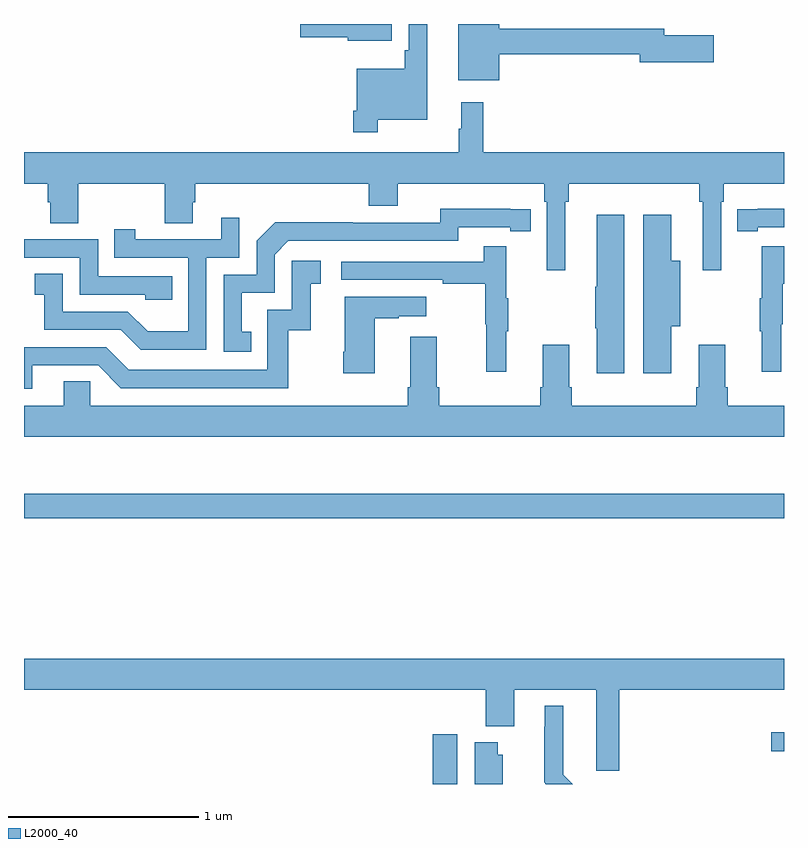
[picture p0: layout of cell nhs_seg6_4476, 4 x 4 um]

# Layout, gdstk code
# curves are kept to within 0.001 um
import gdstk
lib = gdstk.Library(unit=1e-6, precision=1e-09)
def R(c, l, rs):  # rectangles x0, y0, x1, y1
    for r in rs: c.add(gdstk.rectangle(r[:2], r[2:], *l))
def P(c, l, *ps):  # polygons
    for p in ps: c.add(gdstk.Polygon(p, *l))
L2000_40 = (2000, 40)

nhs_seg6_4476 = lib.new_cell('nhs_seg6_4476')
R(nhs_seg6_4476, L2000_40, [(377.15,953.5,377.281,953.761), (378.933,953.673,379,953.773), (375,954.898,379,955.027)])
P(nhs_seg6_4476, L2000_40, [(377.5,957.34),(378.242,957.34),(378.242,957.298),(378.631,957.298),(378.631,957.44),(378.37,957.44),(378.37,957.476),(377.5,957.476),(377.5,957.5),(377.285,957.5),(377.285,957.203),(377.5,957.203)],
  [(376.861,956.996),(377.122,956.996),(377.122,957.5),(377.025,957.5),(377.025,957.361),(377.005,957.361),(377.005,957.265),(376.752,957.265),(376.752,957.043),(376.732,957.043),(376.732,956.931),(376.861,956.931)],
  [(376.936,957.5),(376.454,957.5),(376.454,957.431),(376.704,957.431),(376.704,957.413),(376.936,957.413)],
  [(377.848,956.564),(377.867,956.564),(377.867,956.66),(378.553,956.66),(378.553,956.564),(378.572,956.564),(378.572,956.205),(378.669,956.205),(378.669,956.564),(378.683,956.564),(378.683,956.66),(379,956.66),(379,956.824),(377.417,956.824),(377.417,957.088),(377.3,957.088),(377.3,956.948),(377.289,956.948),(377.289,956.824),(375,956.824),(375,956.66),(375.125,956.66),(375.125,956.562),(375.137,956.562),(375.137,956.452),(375.285,956.452),(375.285,956.66),(375.742,956.66),(375.742,956.452),(375.889,956.452),(375.889,956.562),(375.902,956.562),(375.902,956.66),(376.814,956.66),(376.814,956.543),(376.966,956.543),(376.966,956.66),(377.738,956.66),(377.738,956.564),(377.751,956.564),(377.751,956.205),(377.848,956.205)],
  [(376.196,955.881),(376.147,955.881),(376.147,956.085),(376.32,956.085),(376.32,956.286),(376.392,956.358),(377.286,956.358),(377.286,956.43),(377.558,956.43),(377.558,956.41),(377.666,956.41),(377.666,956.526),(377.19,956.527),(377.19,956.454),(376.73,956.454),(376.73,956.456),(376.322,956.456),(376.224,956.358),(376.224,956.181),(376.05,956.181),(376.05,955.776),(376.196,955.776)],
  [(378.862,956.43),(379,956.43),(379,956.527),(378.862,956.527),(378.862,956.526),(378.754,956.526),(378.754,956.41),(378.862,956.41)],
  [(378.16,956.497),(378.014,956.497),(378.014,956.117),(378.007,956.117),(378.007,955.9),(378.014,955.9),(378.014,955.662),(378.16,955.662)],
  [(378.406,955.91),(378.454,955.91),(378.454,956.254),(378.406,956.254),(378.406,956.497),(378.26,956.497),(378.26,955.662),(378.406,955.662)],
  [(375.96,956.271),(376.134,956.271),(376.134,956.479),(376.037,956.479),(376.037,956.367),(375.586,956.367),(375.586,956.419),(375.475,956.419),(375.475,956.271),(375.864,956.271),(375.864,955.882),(375.65,955.882),(375.546,955.986),(375.204,955.986),(375.204,956.185),(375.057,956.185),(375.057,956.075),(375.106,956.075),(375.106,955.89),(375.509,955.89),(375.614,955.785),(375.96,955.785)],
  [(375.779,956.172),(375.39,956.172),(375.39,956.367),(375,956.367),(375,956.271),(375.294,956.271),(375.294,956.076),(375.639,956.076),(375.639,956.049),(375.779,956.049)],
  [(377.537,955.883),(377.548,955.883),(377.548,956.057),(377.537,956.057),(377.537,956.329),(377.419,956.329),(377.419,956.25),(376.671,956.25),(376.671,956.154),(377.203,956.154),(377.203,956.134),(377.427,956.134),(377.427,955.92),(377.434,955.92),(377.434,955.671),(377.537,955.671)],
  [(378.986,955.92),(378.994,955.92),(378.994,956.134),(379,956.134),(379,956.329),(378.884,956.329),(378.884,956.057),(378.873,956.057),(378.873,955.883),(378.884,955.883),(378.884,955.671),(378.986,955.671)],
  [(375.043,955.704),(375.39,955.704),(375.51,955.584),(376.39,955.584),(376.39,955.887),(376.508,955.887),(376.508,956.133),(376.561,956.133),(376.561,956.254),(376.41,956.254),(376.41,955.995),(376.281,955.995),(376.281,955.68),(375.552,955.68),(375.432,955.8),(375,955.8),(375,955.581),(375.043,955.581)],
  [(376.846,955.951),(376.973,955.951),(376.973,955.961),(377.116,955.961),(377.116,956.065),(376.688,956.065),(376.688,955.774),(376.681,955.774),(376.681,955.662),(376.846,955.662)],
  [(379,955.492),(378.704,955.492),(378.704,955.588),(378.691,955.588),(378.691,955.813),(378.551,955.813),(378.551,955.588),(378.539,955.588),(378.539,955.492),(377.882,955.492),(377.882,955.588),(377.869,955.588),(377.869,955.813),(377.729,955.813),(377.729,955.588),(377.717,955.588),(377.717,955.492),(377.186,955.492),(377.186,955.588),(377.173,955.588),(377.173,955.855),(377.033,955.855),(377.033,955.588),(377.021,955.588),(377.021,955.492),(375.348,955.492),(375.348,955.619),(375.209,955.619),(375.209,955.492),(375,955.492),(375,955.328),(379,955.328)],
  [(378.134,953.996),(379,953.996),(379,954.16),(375,954.16),(375,953.996),(377.429,953.996),(377.429,953.804),(377.581,953.804),(377.581,953.996),(378.011,953.996),(378.011,953.571),(378.134,953.571)],
  [(377.839,953.548),(377.839,953.911),(377.741,953.911),(377.741,953.801),(377.737,953.801),(377.737,953.51),(377.747,953.5),(377.887,953.5)],
  [(377.521,953.655),(377.494,953.655),(377.494,953.719),(377.372,953.719),(377.372,953.5),(377.521,953.5)])

lib.write_gds('nhs_seg6_4476.gds')
